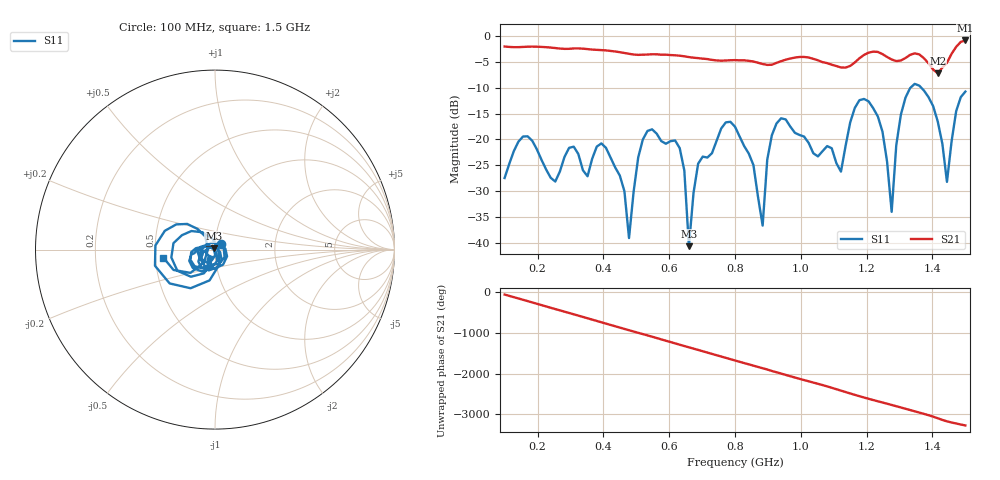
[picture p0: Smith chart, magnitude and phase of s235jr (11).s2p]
! NanoVNA-App
! Date: 2025-09-25 15:04:14
! Start: 100MHz Stop: 1,5GHz Points: 101
! S-Parameter data: F S11 S21 S12 S22
# Hz S RI R 50
!  Frequency  S11_Real  S11_Imag  S21_Real  S21_Imag  S12_Real  S12_Imag  S22_Real  S22_Imag
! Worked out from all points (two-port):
!   101 points, 100 MHz to 1.5 GHz, reference 50 ohm
!   highest |S21| = -0.78 dB at 1.5 GHz (marker M1); lowest = -7.2 dB at 1.416 GHz (marker M2)
!   |S21| within 3 dB of the highest: start of sweep to 636.7 MHz; 1.188 GHz to 1.257 GHz (69.07 MHz wide, 5.65 % of centre)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
!   lowest |S11| = -40.7 dB at 660 MHz (marker M3), VSWR 1.02, Z = 49.3 + j0.61 ohm
!   |S11| at or under -10 dB: start of sweep to 1.332 GHz; 1.367 GHz to end of sweep
!   S12 and S22 are empty: the file has one direction only
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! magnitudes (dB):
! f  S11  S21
! 100 MHz  -27.5  -2.0
! 156 MHz  -19.4  -2.0
! 338 MHz  -26.0  -2.4
! 408 MHz  -21.6  -2.7
! 478 MHz  -39.1  -3.4
! 520 MHz  -20.0  -3.5
! 576 MHz  -20.3  -3.6
! 632 MHz  -21.7  -3.7
! 660 MHz  -40.7  -4.0
! 688 MHz  -24.7  -4.2
! 800 MHz  -17.5  -4.6
! 884 MHz  -36.7  -5.4
! 926 MHz  -16.9  -5.1
! 1.038 GHz  -22.7  -4.4
! 1.122 GHz  -26.2  -6.0
! 1.206 GHz  -12.6  -3.1
! 1.248 GHz  -18.5  -3.4
! 1.276 GHz  -34.1  -4.5
! 1.332 GHz  -10.0  -3.6
! 1.416 GHz  -16.5  -7.2
! 1.444 GHz  -28.2  -5.1
! 1.5 GHz  -10.7  -0.8
